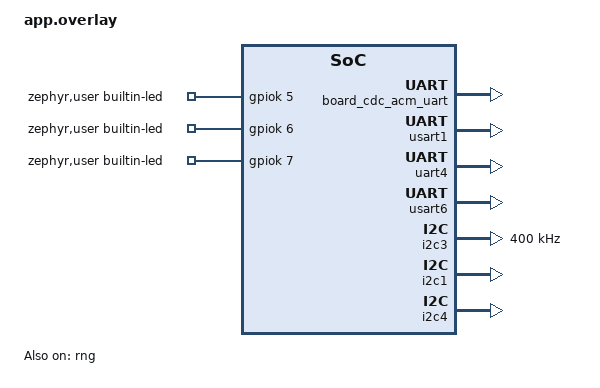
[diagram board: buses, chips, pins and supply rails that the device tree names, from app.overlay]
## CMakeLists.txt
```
# SPDX-License-Identifier: Apache-2.0

cmake_minimum_required(VERSION 3.20.0)
find_package(Zephyr REQUIRED HINTS $ENV{ZEPHYR_BASE})
project(ili9341_touch)

#include(../common/common.cmake)
FILE(GLOB app_sources src/*.cpp  app_sources src/*.c app_sources )
target_include_directories(app PRIVATE )
target_sources(app PRIVATE ${app_sources})
```

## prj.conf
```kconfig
#CONFIG_STDOUT_CONSOLE=y
CONFIG_USB_DEVICE_STACK=y
CONFIG_LOG=y
CONFIG_USB_DRIVER_LOG_LEVEL_ERR=y
CONFIG_USB_DEVICE_LOG_LEVEL_ERR=y
CONFIG_SERIAL=y
CONFIG_UART_INTERRUPT_DRIVEN=y
CONFIG_UART_LINE_CTRL=y
CONFIG_USB_DEVICE_INITIALIZE_AT_BOOT=n
CONFIG_GPIO=y
CONFIG_STATIC_INIT_GNU=y

# Enable uart driver
CONFIG_SERIAL=y

CONFIG_SHELL=y
CONFIG_SHELL_STACK_SIZE=2048
CONFIG_SHELL_CMD_BUFF_SIZE=2048
CONFIG_SHELL_LOG_LEVEL_DBG=n

# Console
CONFIG_CONSOLE=y
CONFIG_UART_CONSOLE=y
#CONFIG_USB_CDC_ACM_LOG_LEVEL_DBG=y

CONFIG_USB_DEVICE_STACK=y
CONFIG_USB_DEVICE_PRODUCT="Arduino Portenta H7"
CONFIG_USB_DEVICE_MANUFACTURER="Arduino"
CONFIG_USB_DEVICE_VID=0x2341
CONFIG_USB_DEVICE_PID=0x005b

#CONFIG_USB_CDC_ACM=y
#CONFIG_USB_CDC_ACM_RINGBUF_SIZE=512
#CONFIG_UART_LINE_CTRL=y
#CONFIG_CDC_ACM_DTE_RATE_CALLBACK_SUPPORT=y

CONFIG_LLEXT_STORAGE_WRITABLE=n

CONFIG_SHARED_MULTI_HEAP=y
CONFIG_HEAP_MEM_POOL_SIZE=2048
CONFIG_SHELL_STACK_SIZE=32768
CONFIG_MAIN_STACK_SIZE=32768
CONFIG_LLEXT_HEAP_SIZE=128

CONFIG_FPU=y
CONFIG_ICACHE=y
CONFIG_DCACHE=y
CONFIG_CACHE_MANAGEMENT=y

CONFIG_USERSPACE=n
CONFIG_ARM_MPU=y
CONFIG_MAX_THREAD_BYTES=4

#CONFIG_SHELL_STACK_SIZE=32768
#CONFIG_MAIN_STACK_SIZE=32768
#CONFIG_LLEXT_HEAP_SIZE=128

CONFIG_ADC=y
CONFIG_PWM=y
CONFIG_DMA=y
CONFIG_MEMC=y
CONFIG_SPI=y
CONFIG_SPI_ASYNC=y
CONFIG_SPI_STM32_INTERRUPT=y

CONFIG_NET_CORE_LOG_LEVEL_DBG=y

CONFIG_FLASH=y
CONFIG_STM32H7_BOOT_M4_AT_INIT=n 
CONFIG_STATIC_INIT_GNU=y

# from prj.conf... of Arduino
CONFIG_LOG=y
CONFIG_LOG_MODE_IMMEDIATE=y

CONFIG_GPIO=y
CONFIG_PINCTRL=y
CONFIG_I2C=y
CONFIG_SPI=y

CONFIG_VIDEO_BUFFER_POOL_ALIGN=32
CONFIG_VIDEO_BUFFER_SMH_ATTRIBUTE=2
```

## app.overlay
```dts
/* This is copy of the Arduino setup */
&board_cdc_acm_uart {
	status = "okay";
};

&usart1 {
	status = "okay";
};

&uart4 {
	status = "okay";
};

&usart6 {
	status = "okay";
};

&i2c3 {
	status = "okay";
	clock-frequency = <I2C_BITRATE_FAST>;

};

&i2c1 {
	status = "okay";
};

&i2c4 {
	status = "okay";
};

&rng {
	status = "okay";
};

&dmamux1 {
	status = "okay";
};

&dma1 {
	status = "okay";
};



/ {
	chosen {
		zephyr,console = &usart6;
		zephyr,shell-uart = &usart6;
		zephyr,cdc-acm-uart0 = &usart6;
	};

	aliases {
		dmax = &dma1;
	};
};


/ {
	zephyr,user {
		builtin-led-gpios = <&gpiok 5 0>,
				    <&gpiok 6 0>,
				    <&gpiok 7 0>;

	};
};
```

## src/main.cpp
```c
/*
 * Copyright (c) 2019 Intel Corporation
 *
 * SPDX-License-Identifier: Apache-2.0
 */

/**
 * @file
 * @brief Sample echo app for CDC ACM class
 *
 * Sample app for USB CDC ACM class driver. The received data is echoed back
 * to the serial port.
 */

//#include <sample_usbd.h>
// Turn on this option, to test to ee if camera errors out without screeen
//#define TIMED_WAIT_NO_TFT (1000/6)

// Try using fixed normal memory buffer for display
//#define ILI9341_USE_FIXED_BUFFER
// Hack try to use fixed buffer for camera
#include <stdio.h>
#include <string.h>
#include <zephyr/device.h>
#include <zephyr/drivers/uart.h>
#include <zephyr/kernel.h>
#include <zephyr/sys/ring_buffer.h>
#include <zephyr/drivers/clock_control.h>

#include <zephyr/usb/usb_device.h>
#include <zephyr/usb/usbd.h>
#include <zephyr/logging/log.h>
#include <zephyr/drivers/gpio.h>
#include <zephyr/input/input.h>

LOG_MODULE_REGISTER(main, LOG_LEVEL_INF);
#include <zephyr/devicetree.h>
#include <zephyr/multi_heap/shared_multi_heap.h>
#include <zephyr/drivers/dma.h>

inline int min(int a, int b) {
	return (a <= b)? a : b;
}


// Need to do this.
unsigned long micros(void) {
#ifdef CONFIG_TIMER_HAS_64BIT_CYCLE_COUNTER
  return k_cyc_to_us_floor32(k_cycle_get_64());
#else
  return k_cyc_to_us_floor32(k_cycle_get_32());
#endif
 }

//#define BUFFER_SIZE (32768)
#define BUFFER_SIZE (320*240*2)

//#define USE_STATIC_BUFFERS
#ifdef USE_STATIC_BUFFERS
__aligned(32) uint8_t buffer0[BUFFER_SIZE];
__aligned(32) uint8_t buffer1[BUFFER_SIZE];
__aligned(32) uint8_t buffer2[BUFFER_SIZE];
uint8_t *sdram_buffers[3] = {buffer0, buffer1, buffer2};
#else
uint8_t *sdram_buffers[3];
#endif
volatile bool dma_completed;

void dma_callback(const struct device *dma_dev, void *user_data, uint32_t channel, int status)
{
	static bool first_time = true;
	if (first_time) {
		first_time = false;
		printk("\ndma_callback(%p %p %u %d)\n", dma_dev, user_data, channel, status);
	}
    if (status == 0) {

//        LOG_INF("DMA transfer complete on channel %d", channel);
    } else {
        LOG_ERR("DMA transfer failed with status %d on channel %d", status, channel);
    }
    dma_completed = true;
}


static struct dma_block_config g_block_cfgs[6];


int configure_dma_transfer(const struct device *dma_dev, uint8_t *src, uint8_t *dest, size_t size, int channel)
{
	int ret = 0;

	SCB_CleanDCache_by_Addr((uint32_t *)src, size);
    SCB_InvalidateDCache_by_Addr((uint32_t *)sdram_buffers[2], size);

	static bool first_time = true;
	if (first_time) {
		//first_time = false;
		//printk("configure_dma_transfer(%p, %p, %p, %u %u)\n", dma_dev, src, dest, size, channel);

		// lets try building list of send and receive buffers.
		size_t block_size = 65536-32;  // blocks < 64K and we want 32 byte dma boundaries
		uint32_t block_index = 0;

		while (size) {
			if (size < block_size) block_size = size;
			memset (&g_block_cfgs[block_index], 0, sizeof(dma_block_config)); 
	       	g_block_cfgs[block_index].source_address = (uint32_t)src,
	       	g_block_cfgs[block_index].dest_address = (uint32_t)dest,
	       	g_block_cfgs[block_index].block_size = block_size,
			g_block_cfgs[block_index].source_gather_en = 1U;

	        src += block_size;
	        dest += block_size;
	        size -= block_size;
	        if (size) g_block_cfgs[block_index].next_block = &g_block_cfgs[block_index + 1];
	        block_index++;
		}

		struct dma_block_config block_cfg = {
	        .source_address = (uint32_t)src,
	        .dest_address = (uint32_t)dest,
	        .block_size = size,
	    };

		struct dma_config dma_cfg = {
	 		.dma_slot = 0,
	        .channel_direction = MEMORY_TO_MEMORY,
	        .complete_callback_en = true,
	        .source_data_size = 1,
	        .dest_data_size = 1,
	        .source_burst_length = 1,
	        .dest_burst_length = 1,
	        .block_count = block_index,
	        .head_block = &g_block_cfgs[0],
	        .user_data = dest,
	        .dma_callback = dma_callback,
	    };
		//static bool fConfigured = false;
		//if (!fConfigured) {

		ret = dma_config(dma_dev, channel, &dma_cfg);
		if (ret != 0) {
			LOG_ERR("DMA configuration failed with error %d\n", ret);
			return ret;
		}

	} else {
		ret = dma_reload(dma_dev, channel, (uint32_t)src, (uint32_t)dest, size);
		if (ret) {
			LOG_ERR("DMA Reload failed: %d", ret);
		}
	}
    dma_completed = false;
	ret = dma_start(dma_dev, channel);
	if (ret != 0) {
		LOG_ERR("Failed to start DMA transfer with error %d\n", ret);
	}

//	LOG_INF("DMA started");

	return ret;
}


int CheckBuffers(const char *sz, uint8_t *source, uint8_t *dest) {
	int error_count = 0;
	for (int i = 0; i < BUFFER_SIZE; i++) {
		if (source[i] != dest[i]) {
			error_count++;
			if (error_count == 1) printk("%s ", sz);
			if (error_count < 5) printk(" (%i %x %x)", i, source[i], dest[i]);
		}
	}
	if (error_count) printk(" %u", error_count);
	return error_count;
}

int main(void)
{

	const struct device *dma_dev = DEVICE_DT_GET(DT_ALIAS(dmax));
	//struct dma_status dma_status = {0};
	int ret = 0;
	int tx_dma_channel = 1;
	// Start up the Serial
	//SerialX.begin();
	k_sleep(K_MSEC(250));
	printk("SDRAM test...\n");

	//tx_dma_channel = dma_request_channel(dma_dev, 0);
	printk("DMA Channel allocated %d\n", tx_dma_channel);

	for (uint8_t i = 0; i < (sizeof(sdram_buffers) / sizeof(sdram_buffers[0])); i++) {
		#ifndef USE_STATIC_BUFFERS
		sdram_buffers[i] = (uint8_t *)shared_multi_heap_aligned_alloc(SMH_REG_ATTR_EXTERNAL, 32, BUFFER_SIZE);
		//sdram_buffers[i] = (uint8_t *)k_malloc(BUFFER_SIZE);
		#endif
		printk("Buffer: %u ADDR:%p size:%u\n", i, sdram_buffers[i], BUFFER_SIZE);
	}

	for (uint32_t loop_count = 0;; loop_count++) {
		printk("loop: %u(%x) ", loop_count, loop_count & 0xff);
		memset (sdram_buffers[0], loop_count & 0xff, BUFFER_SIZE);
		memset (sdram_buffers[1], 0xff, BUFFER_SIZE);
		memset (sdram_buffers[2], 0xaa, BUFFER_SIZE);

		ret = configure_dma_transfer(dma_dev, sdram_buffers[0], sdram_buffers[2], BUFFER_SIZE, tx_dma_channel);
		if (ret != 0) {
			LOG_ERR("DMA configuration or transfer failed\n");
		}

		memcpy(sdram_buffers[1], sdram_buffers[0], BUFFER_SIZE);

		CheckBuffers(" Memcpy:", sdram_buffers[0], sdram_buffers[1]);
		while (!dma_completed) k_sleep(K_MSEC(1));
	   	
        __DSB(); // Data Synchronization Barrier
        SCB_InvalidateDCache_by_Addr((uint32_t *)sdram_buffers[2], BUFFER_SIZE);
	   	if (int ret = dma_stop(dma_dev, tx_dma_channel)) {
	   		LOG_ERR("dma_stop failed: %d", ret);
	   	}

		CheckBuffers(" DMA:", sdram_buffers[0], sdram_buffers[2]);
		printk("\n");
		k_sleep(K_MSEC(259));
	}
	return 0;
}

//----------------------------------------------------------------------------------
//----------------------------------------------------------------------------------
extern unsigned long millis(void);

unsigned long millis(void) { return k_uptime_get_32(); }

//----------------------------------------------------------------------------------
//----------------------------------------------------------------------------------

Z_GENERIC_SECTION(SDRAM1) static uint8_t __aligned(32) smh_pool[4*1024*1024];

int smh_init(void) {
    int ret = 0;
    ret = shared_multi_heap_pool_init();
    if (ret != 0) {
        return ret;
    }

    struct shared_multi_heap_region smh_sdram = {
        .attr = SMH_REG_ATTR_EXTERNAL,
        .addr = (uintptr_t) smh_pool,
        .size = sizeof(smh_pool)
    };

    ret = shared_multi_heap_add(&smh_sdram, NULL);
    if (ret != 0) {
        return ret;
    }
	return 0;
}

SYS_INIT(smh_init, POST_KERNEL, CONFIG_KERNEL_INIT_PRIORITY_DEFAULT);
```
